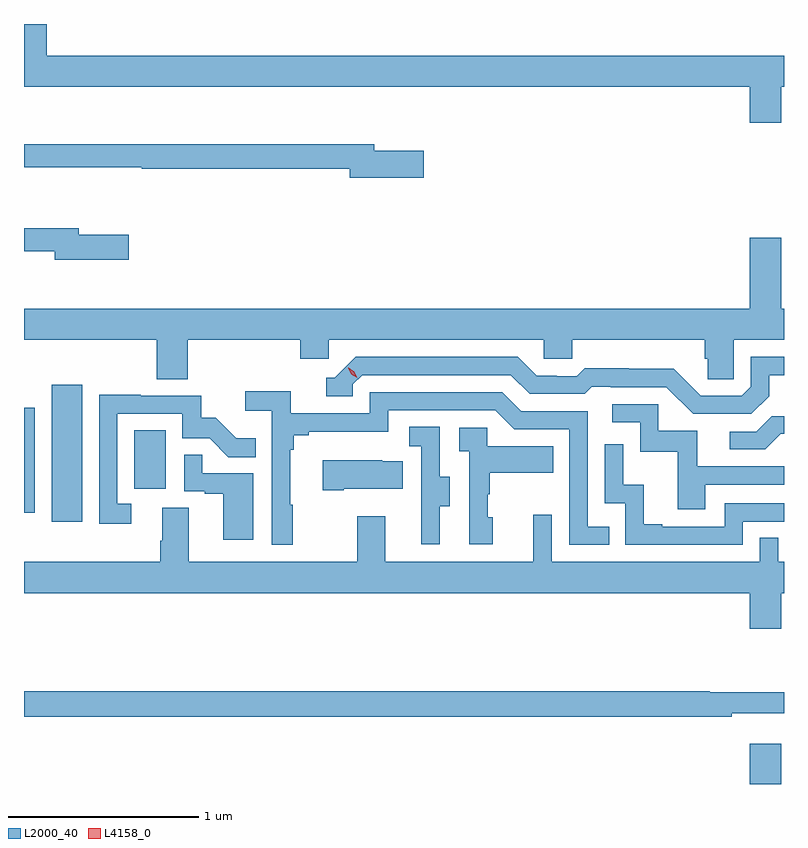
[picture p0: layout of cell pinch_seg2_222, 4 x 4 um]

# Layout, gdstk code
import gdstk
lib = gdstk.Library(unit=1e-6, precision=1e-09)
def R(c, l, rs):  # rectangles x0, y0, x1, y1
    for r in rs: c.add(gdstk.rectangle(r[:2], r[2:], *l))
def P(c, l, *ps):  # polygons
    for p in ps: c.add(gdstk.Polygon(p, *l))
L2000_40 = (2000, 40)
L4158_0 = (4158, 0)

pinch_seg2_222 = lib.new_cell('pinch_seg2_222')
R(pinch_seg2_222, L2000_40, [(1004.168,645.299,1004.332,645.511), (1000.493,646.68,1000.654,647.401), (1000.347,646.726,1000.404,647.278), (1000.928,646.854,1001.092,647.161)])
P(pinch_seg2_222, L2000_40, [(1004.332,648.968),(1004.347,648.968),(1004.347,649.132),(1000.466,649.132),(1000.466,649.299),(1000.347,649.299),(1000.347,648.968),(1004.168,648.968),(1004.168,648.78),(1004.332,648.78)],
  [(1002.451,648.633),(1002.19,648.633),(1002.19,648.667),(1000.347,648.667),(1000.347,648.546),(1000.966,648.546),(1000.966,648.538),(1002.062,648.538),(1002.062,648.491),(1002.451,648.491)],
  [(1000.897,648.189),(1000.636,648.189),(1000.636,648.223),(1000.347,648.223),(1000.347,648.102),(1000.508,648.102),(1000.508,648.059),(1000.897,648.059)],
  [(1001.21,647.636),(1001.801,647.636),(1001.801,647.538),(1001.952,647.538),(1001.952,647.636),(1003.083,647.636),(1003.083,647.538),(1003.233,647.538),(1003.233,647.636),(1003.931,647.636),(1003.931,647.538),(1003.945,647.538),(1003.945,647.428),(1004.082,647.428),(1004.082,647.636),(1004.347,647.636),(1004.347,647.8),(1004.332,647.8),(1004.332,648.175),(1004.168,648.175),(1004.168,647.8),(1000.347,647.8),(1000.347,647.636),(1001.045,647.636),(1001.045,647.428),(1001.21,647.428)],
  [(1004.269,647.341),(1004.269,647.451),(1004.347,647.451),(1004.347,647.547),(1004.172,647.547),(1004.172,647.391),(1004.124,647.343),(1003.908,647.343),(1003.766,647.485),(1003.53,647.485),(1003.53,647.488),(1003.297,647.488),(1003.255,647.445),(1003.152,647.445),(1003.152,647.448),(1003.045,647.448),(1002.946,647.547),(1002.093,647.547),(1001.982,647.436),(1001.939,647.436),(1001.939,647.34),(1002.078,647.34),(1002.078,647.403),(1002.126,647.451),(1002.909,647.451),(1003.008,647.352),(1003.297,647.352),(1003.336,647.391),(1003.435,647.391),(1003.435,647.388),(1003.728,647.388),(1003.869,647.247),(1004.175,647.247)],
  [(1001.761,646.769),(1001.749,646.769),(1001.749,647.057),(1001.768,647.057),(1001.768,647.134),(1001.845,647.134),(1001.845,647.153),(1002.264,647.153),(1002.264,647.265),(1002.828,647.265),(1002.927,647.166),(1003.218,647.166),(1003.218,646.557),(1003.427,646.557),(1003.427,646.653),(1003.314,646.653),(1003.314,647.262),(1002.964,647.262),(1002.865,647.361),(1002.168,647.361),(1002.168,647.25),(1001.75,647.25),(1001.75,647.366),(1001.511,647.366),(1001.511,647.264),(1001.652,647.264),(1001.652,646.557),(1001.761,646.557)],
  [(1000.912,646.773),(1000.839,646.773),(1000.839,647.247),(1001.181,647.247),(1001.181,647.118),(1001.325,647.118),(1001.423,647.02),(1001.567,647.02),(1001.567,647.119),(1001.463,647.119),(1001.356,647.226),(1001.28,647.226),(1001.28,647.343),(1000.961,647.343),(1000.961,647.348),(1000.743,647.348),(1000.743,646.668),(1000.912,646.668)],
  [(1003.933,646.875),(1004.347,646.875),(1004.347,646.971),(1003.891,646.971),(1003.891,647.157),(1003.686,647.157),(1003.686,647.298),(1003.443,647.298),(1003.443,647.202),(1003.59,647.202),(1003.59,647.049),(1003.789,647.049),(1003.789,646.746),(1003.933,646.746)],
  [(1004.329,647.142),(1004.347,647.142),(1004.347,647.234),(1004.282,647.234),(1004.202,647.154),(1004.061,647.154),(1004.061,647.061),(1004.248,647.061)],
  [(1002.535,646.762),(1002.589,646.762),(1002.589,646.917),(1002.534,646.917),(1002.534,647.18),(1002.375,647.18),(1002.375,647.077),(1002.438,647.077),(1002.438,646.773),(1002.437,646.773),(1002.437,646.56),(1002.535,646.56)],
  [(1002.814,646.704),(1002.789,646.704),(1002.789,646.823),(1002.799,646.823),(1002.799,646.937),(1003.133,646.937),(1003.133,647.077),(1002.786,647.077),(1002.786,647.175),(1002.639,647.175),(1002.639,647.051),(1002.69,647.051),(1002.69,646.56),(1002.814,646.56)],
  [(1004.13,646.68),(1004.347,646.68),(1004.347,646.776),(1004.034,646.776),(1004.034,646.653),(1003.705,646.653),(1003.705,646.666),(1003.61,646.666),(1003.61,646.874),(1003.5,646.874),(1003.5,647.086),(1003.404,647.086),(1003.404,646.776),(1003.512,646.776),(1003.512,646.557),(1004.13,646.557)],
  [(1001.554,646.935),(1001.285,646.935),(1001.285,647.033),(1001.19,647.033),(1001.19,646.839),(1001.297,646.839),(1001.297,646.827),(1001.396,646.827),(1001.396,646.584),(1001.554,646.584)],
  [(1002.031,646.853),(1002.341,646.853),(1002.341,646.999),(1002.233,646.999),(1002.233,647.002),(1001.919,647.002),(1001.919,646.846),(1002.031,646.846)],
  [(1004.332,646.304),(1004.347,646.304),(1004.347,646.468),(1004.316,646.468),(1004.316,646.595),(1004.22,646.595),(1004.22,646.468),(1003.125,646.468),(1003.125,646.717),(1003.028,646.717),(1003.028,646.468),(1002.247,646.468),(1002.247,646.708),(1002.1,646.708),(1002.1,646.468),(1001.215,646.468),(1001.215,646.754),(1001.075,646.754),(1001.075,646.58),(1001.063,646.58),(1001.063,646.468),(1000.347,646.468),(1000.347,646.304),(1004.168,646.304),(1004.168,646.116),(1004.332,646.116)],
  [(1004.072,645.671),(1004.347,645.671),(1004.347,645.781),(1003.955,645.781),(1003.955,645.788),(1000.347,645.788),(1000.347,645.652),(1004.072,645.652)])
P(pinch_seg2_222, L4158_0, [(1002.101,647.436),(1002.07,647.456),(1002.054,647.489),(1002.054,647.489),(1002.055,647.489),(1002.085,647.469),(1002.101,647.436),(1002.101,647.436)])

lib.write_gds('pinch_seg2_222.gds')
